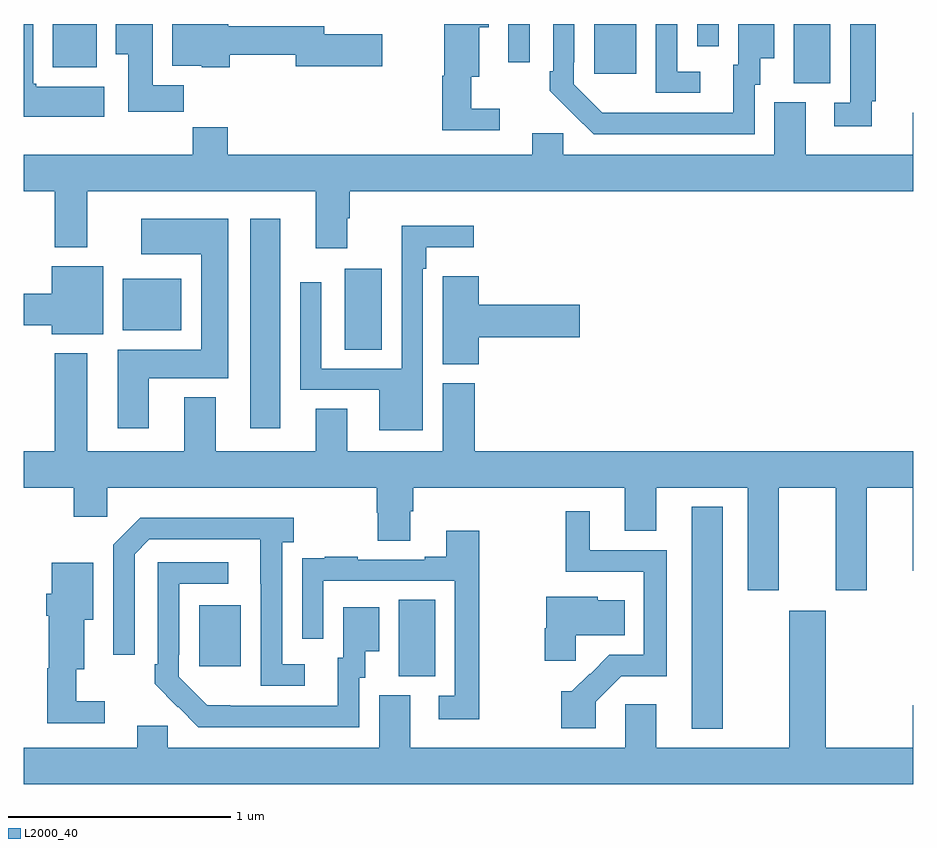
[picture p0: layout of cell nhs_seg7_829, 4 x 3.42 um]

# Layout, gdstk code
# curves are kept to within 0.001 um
import gdstk
lib = gdstk.Library(unit=1e-6, precision=1e-09)
def R(c, l, rs):  # rectangles x0, y0, x1, y1
    for r in rs: c.add(gdstk.rectangle(r[:2], r[2:], *l))
def P(c, l, *ps):  # polygons
    for p in ps: c.add(gdstk.Polygon(p, *l))
L2000_40 = (2000, 40)

nhs_seg7_829 = lib.new_cell('nhs_seg7_829')
R(nhs_seg7_829, L2000_40, [(176.003,1032.833,176.143,1033.831), (174.686,1033.069,174.85,1033.412), (173.789,1033.113,173.977,1033.387), (174.02,1034.184,174.154,1035.124), (174.443,1034.536,174.61,1034.899), (173.447,1034.624,173.71,1034.854), (176.462,1035.733,176.626,1036), (175.565,1035.777,175.753,1036), (173.132,1035.806,173.329,1036), (175.179,1035.828,175.275,1036), (176.028,1035.9,176.124,1036)])
P(nhs_seg7_829, L2000_40, [(173.928,1035.861),(174.224,1035.861),(174.224,1035.811),(174.613,1035.811),(174.613,1035.953),(174.352,1035.953),(174.352,1035.989),(173.92,1035.989),(173.92,1036),(173.669,1036),(173.669,1035.812),(173.802,1035.812),(173.802,1035.806),(173.928,1035.806)],
  [(173.72,1035.724),(173.581,1035.724),(173.581,1036),(173.414,1036),(173.414,1035.865),(173.471,1035.865),(173.471,1035.606),(173.72,1035.606)],
  [(176.813,1035.652),(176.831,1035.652),(176.831,1036),(176.715,1036),(176.715,1035.645),(176.643,1035.645),(176.643,1035.54),(176.813,1035.54)],
  [(175.141,1035.619),(175.012,1035.619),(175.012,1035.764),(175.048,1035.764),(175.048,1035.986),(175.09,1035.986),(175.09,1036),(174.89,1036),(174.89,1035.768),(174.883,1035.768),(174.883,1035.522),(175.141,1035.522)],
  [(176.286,1035.726),(176.311,1035.726),(176.311,1035.845),(176.374,1035.845),(176.374,1036),(176.213,1036),(176.213,1035.816),(176.189,1035.816),(176.189,1035.6),(175.602,1035.601),(175.473,1035.729),(175.473,1035.829),(175.476,1035.829),(175.476,1036),(175.38,1036),(175.38,1035.787),(175.365,1035.787),(175.365,1035.699),(175.562,1035.504),(176.286,1035.504)],
  [(176.041,1035.786),(175.938,1035.786),(175.938,1036),(175.842,1036),(175.842,1035.69),(176.041,1035.69)],
  [(173.362,1035.718),(173.058,1035.718),(173.058,1035.732),(173.044,1035.732),(173.044,1036),(173,1036),(173,1035.584),(173.362,1035.584)],
  [(174.454,1035.128),(174.467,1035.128),(174.467,1035.248),(177,1035.248),(177,1035.601),(176.996,1035.601),(176.996,1035.412),(176.515,1035.412),(176.515,1035.648),(176.375,1035.648),(176.375,1035.412),(175.425,1035.412),(175.425,1035.51),(175.286,1035.51),(175.286,1035.412),(173.918,1035.412),(173.918,1035.536),(173.761,1035.536),(173.761,1035.412),(173,1035.412),(173,1035.248),(173.14,1035.248),(173.14,1034.996),(173.287,1034.996),(173.287,1035.248),(174.314,1035.248),(174.314,1034.991),(174.454,1034.991)],
  [(173.563,1034.408),(173.92,1034.408),(173.92,1035.124),(173.529,1035.124),(173.529,1034.966),(173.798,1034.966),(173.798,1034.536),(173.423,1034.536),(173.423,1034.184),(173.563,1034.184)],
  [(174.795,1034.9),(174.811,1034.9),(174.811,1034.996),(175.024,1034.996),(175.024,1035.094),(174.699,1035.094),(174.699,1034.451),(174.339,1034.451),(174.339,1034.839),(174.243,1034.839),(174.243,1034.355),(174.599,1034.355),(174.599,1034.174),(174.795,1034.174)],
  [(173.359,1034.911),(173.126,1034.911),(173.126,1034.787),(173,1034.787),(173,1034.645),(173.126,1034.645),(173.126,1034.606),(173.359,1034.606)],
  [(175.046,1034.591),(175.501,1034.591),(175.501,1034.738),(175.046,1034.738),(175.046,1034.866),(174.885,1034.866),(174.885,1034.753),(174.884,1034.753),(174.884,1034.47),(175.046,1034.47)],
  [(175.028,1034.385),(174.884,1034.385),(174.884,1034.08),(174.454,1034.08),(174.454,1034.27),(174.314,1034.27),(174.314,1034.08),(173.863,1034.08),(173.863,1034.323),(173.723,1034.323),(173.723,1034.08),(173.287,1034.08),(173.287,1034.521),(173.14,1034.521),(173.14,1034.08),(173,1034.08),(173,1033.916),(173.225,1033.916),(173.225,1033.785),(173.376,1033.785),(173.376,1033.916),(174.587,1033.916),(174.587,1033.803),(174.592,1033.803),(174.592,1033.678),(174.739,1033.678),(174.739,1033.81),(174.752,1033.81),(174.752,1033.916),(175.703,1033.916),(175.703,1033.722),(175.843,1033.722),(175.843,1033.916),(176.255,1033.916),(176.255,1033.455),(176.395,1033.455),(176.395,1033.916),(176.651,1033.916),(176.651,1033.455),(176.791,1033.455),(176.791,1033.916),(176.996,1033.916),(176.996,1033.542),(177,1033.542),(177,1034.08),(175.028,1034.08)],
  [(175.572,1032.954),(175.686,1033.068),(175.891,1033.068),(175.891,1033.635),(175.546,1033.635),(175.546,1033.81),(175.437,1033.81),(175.437,1033.539),(175.787,1033.539),(175.787,1033.165),(175.633,1033.165),(175.547,1033.078),(175.545,1033.08),(175.465,1033),(175.417,1033),(175.417,1032.834),(175.572,1032.834)],
  [(174.265,1033.122),(174.162,1033.122),(174.162,1033.67),(174.214,1033.67),(174.214,1033.78),(173.524,1033.78),(173.403,1033.659),(173.403,1033.164),(173.499,1033.164),(173.499,1033.617),(173.565,1033.683),(174.065,1033.683),(174.066,1033.026),(174.265,1033.026)],
  [(175.048,1033.723),(174.899,1033.723),(174.899,1033.606),(174.803,1033.606),(174.803,1033.593),(174.503,1033.593),(174.503,1033.606),(174.355,1033.606),(174.355,1033.599),(174.253,1033.599),(174.253,1033.49),(174.252,1033.49),(174.252,1033.236),(174.348,1033.236),(174.348,1033.497),(174.939,1033.497),(174.939,1032.981),(174.867,1032.981),(174.867,1032.876),(175.048,1032.876)],
  [(174.51,1033.062),(174.535,1033.062),(174.535,1033.181),(174.598,1033.181),(174.598,1033.378),(174.437,1033.378),(174.437,1033.152),(174.413,1033.152),(174.413,1032.936),(173.826,1032.937),(173.697,1033.065),(173.697,1033.165),(173.7,1033.165),(173.7,1033.485),(173.92,1033.485),(173.92,1033.581),(173.604,1033.581),(173.604,1033.123),(173.589,1033.123),(173.589,1033.035),(173.786,1032.84),(174.51,1032.84)],
  [(173.365,1032.955),(173.236,1032.955),(173.236,1033.1),(173.272,1033.1),(173.272,1033.322),(173.314,1033.322),(173.314,1033.579),(173.126,1033.579),(173.126,1033.44),(173.102,1033.44),(173.102,1033.34),(173.114,1033.34),(173.114,1033.104),(173.107,1033.104),(173.107,1032.858),(173.365,1032.858)],
  [(175.481,1033.253),(175.702,1033.253),(175.702,1033.411),(175.581,1033.411),(175.581,1033.426),(175.349,1033.426),(175.349,1033.284),(175.342,1033.284),(175.342,1033.137),(175.481,1033.137)],
  [(177,1032.937),(176.996,1032.937),(176.996,1032.748),(176.605,1032.748),(176.605,1033.363),(176.441,1033.363),(176.441,1032.748),(175.843,1032.748),(175.843,1032.943),(175.704,1032.943),(175.704,1032.748),(174.739,1032.748),(174.739,1032.984),(174.599,1032.984),(174.599,1032.748),(173.649,1032.748),(173.649,1032.846),(173.51,1032.846),(173.51,1032.748),(173,1032.748),(173,1032.584),(177,1032.584)])

lib.write_gds('nhs_seg7_829.gds')
